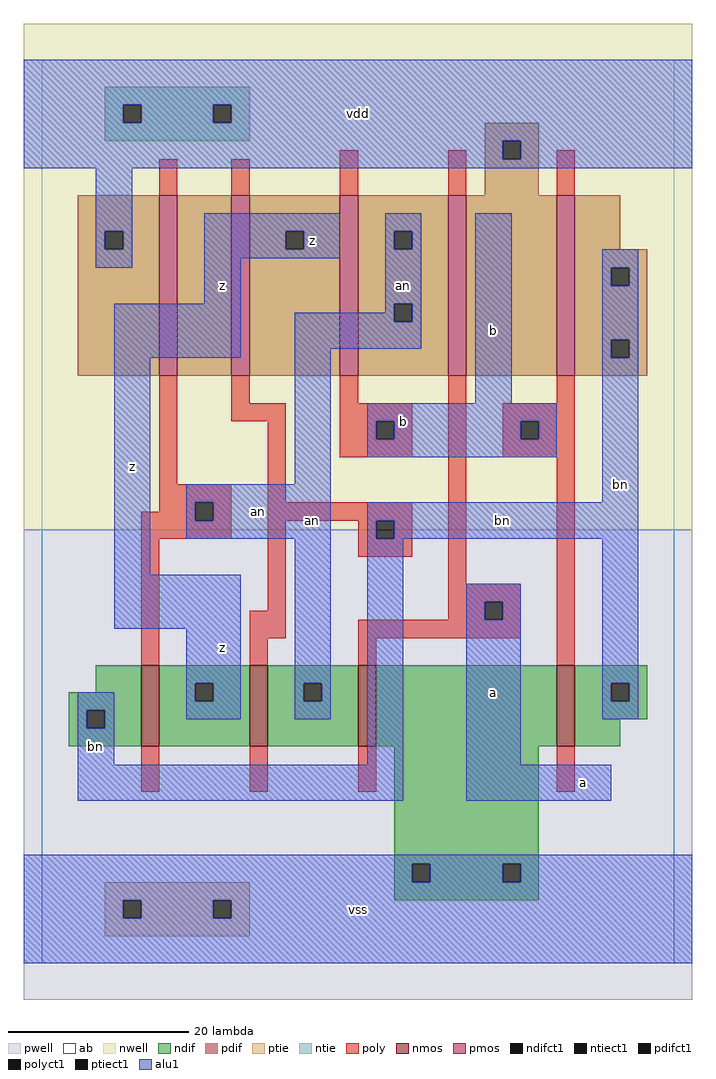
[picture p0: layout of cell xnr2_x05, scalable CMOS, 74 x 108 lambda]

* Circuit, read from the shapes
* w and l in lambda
.subckt xnr2_x05 a an b bn vdd vss z
M1 z an bn vss nfet w=9 l=2
M2 an bn z vss nfet w=9 l=2
M3 vss a an vss nfet w=9 l=2
M4 bn b vss vss nfet w=9 l=2
M5 n1 an vdd vdd pfet w=20 l=2
M6 z bn n1 vdd pfet w=20 l=2
M7 an b z vdd pfet w=20 l=2
M8 vdd a an vdd pfet w=20 l=2
M9 bn b vdd vdd pfet w=20 l=2
.ends

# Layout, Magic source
magic
tech scmos
<< ab >>
rect 0 0 70 100
<< nwell >>
rect -2 48 72 104
<< pwell >>
rect -2 -4 72 48
<< poly >>
rect 13 85 15 89
rect 21 85 23 89
rect 33 85 35 90
rect 45 85 47 90
rect 57 85 59 90
rect 13 53 15 65
rect 21 62 23 65
rect 33 62 35 65
rect 21 60 27 62
rect 13 51 21 53
rect 13 50 17 51
rect 11 49 17 50
rect 19 49 21 51
rect 11 47 21 49
rect 25 51 27 60
rect 33 60 41 62
rect 33 58 37 60
rect 39 58 41 60
rect 33 56 41 58
rect 25 49 41 51
rect 11 33 13 47
rect 25 39 27 49
rect 35 47 37 49
rect 39 47 41 49
rect 35 45 41 47
rect 23 36 27 39
rect 45 42 47 65
rect 57 62 59 65
rect 51 60 59 62
rect 51 58 53 60
rect 55 58 59 60
rect 51 56 59 58
rect 45 40 53 42
rect 45 38 49 40
rect 51 38 53 40
rect 35 36 53 38
rect 23 33 25 36
rect 35 33 37 36
rect 57 33 59 56
rect 11 19 13 24
rect 23 19 25 24
rect 35 19 37 24
rect 57 19 59 24
<< ndif >>
rect 6 30 11 33
rect 3 28 11 30
rect 3 26 5 28
rect 7 26 11 28
rect 3 24 11 26
rect 13 31 23 33
rect 13 29 17 31
rect 19 29 23 31
rect 13 24 23 29
rect 25 31 35 33
rect 25 29 29 31
rect 31 29 35 31
rect 25 24 35 29
rect 37 24 57 33
rect 59 31 67 33
rect 59 29 63 31
rect 65 29 67 31
rect 59 27 67 29
rect 59 24 64 27
rect 39 11 55 24
rect 39 9 41 11
rect 43 9 51 11
rect 53 9 55 11
rect 39 7 55 9
<< pdif >>
rect 49 91 55 93
rect 49 89 51 91
rect 53 89 55 91
rect 49 85 55 89
rect 4 81 13 85
rect 4 79 7 81
rect 9 79 13 81
rect 4 65 13 79
rect 15 65 21 85
rect 23 81 33 85
rect 23 79 27 81
rect 29 79 33 81
rect 23 65 33 79
rect 35 81 45 85
rect 35 79 39 81
rect 41 79 45 81
rect 35 73 45 79
rect 35 71 39 73
rect 41 71 45 73
rect 35 65 45 71
rect 47 65 57 85
rect 59 79 64 85
rect 59 77 67 79
rect 59 75 63 77
rect 65 75 67 77
rect 59 69 67 75
rect 59 67 63 69
rect 65 67 67 69
rect 59 65 67 67
<< alu1 >>
rect -2 95 72 100
rect -2 93 9 95
rect 11 93 19 95
rect 21 93 72 95
rect -2 91 72 93
rect -2 89 51 91
rect 53 89 72 91
rect -2 88 72 89
rect 6 81 10 88
rect 6 79 7 81
rect 9 79 10 81
rect 6 77 10 79
rect 18 81 33 83
rect 18 79 27 81
rect 29 79 33 81
rect 18 78 33 79
rect 38 81 42 83
rect 38 79 39 81
rect 41 79 42 81
rect 18 73 22 78
rect 8 67 22 73
rect 38 73 42 79
rect 38 72 39 73
rect 28 71 39 72
rect 41 71 42 73
rect 28 68 42 71
rect 8 43 12 67
rect 28 53 32 68
rect 48 62 52 83
rect 62 77 66 79
rect 62 75 63 77
rect 65 75 66 77
rect 62 69 66 75
rect 62 67 63 69
rect 65 67 66 69
rect 36 60 57 62
rect 36 58 37 60
rect 39 58 53 60
rect 55 58 57 60
rect 36 56 57 58
rect 16 51 32 53
rect 62 51 66 67
rect 16 49 17 51
rect 19 49 32 51
rect 16 47 32 49
rect 8 37 22 43
rect 16 31 22 37
rect 4 28 8 30
rect 4 26 5 28
rect 7 26 8 28
rect 16 29 17 31
rect 19 29 22 31
rect 16 27 22 29
rect 28 31 32 47
rect 28 29 29 31
rect 31 29 32 31
rect 28 27 32 29
rect 36 49 66 51
rect 36 47 37 49
rect 39 47 66 49
rect 4 22 8 26
rect 36 22 40 47
rect 4 18 40 22
rect 47 40 53 42
rect 47 38 49 40
rect 51 38 53 40
rect 47 22 53 38
rect 62 31 66 47
rect 62 29 63 31
rect 65 29 66 31
rect 62 27 66 29
rect 47 18 63 22
rect -2 11 72 12
rect -2 9 41 11
rect 43 9 51 11
rect 53 9 72 11
rect -2 7 72 9
rect -2 5 9 7
rect 11 5 19 7
rect 21 5 72 7
rect -2 0 72 5
<< ptie >>
rect 7 7 23 9
rect 7 5 9 7
rect 11 5 19 7
rect 21 5 23 7
rect 7 3 23 5
<< ntie >>
rect 7 95 23 97
rect 7 93 9 95
rect 11 93 19 95
rect 21 93 23 95
rect 7 91 23 93
<< nmos >>
rect 11 24 13 33
rect 23 24 25 33
rect 35 24 37 33
rect 57 24 59 33
<< pmos >>
rect 13 65 15 85
rect 21 65 23 85
rect 33 65 35 85
rect 45 65 47 85
rect 57 65 59 85
<< polyct1 >>
rect 17 49 19 51
rect 37 58 39 60
rect 37 47 39 49
rect 53 58 55 60
rect 49 38 51 40
<< ndifct1 >>
rect 5 26 7 28
rect 17 29 19 31
rect 29 29 31 31
rect 63 29 65 31
rect 41 9 43 11
rect 51 9 53 11
<< ntiect1 >>
rect 9 93 11 95
rect 19 93 21 95
<< ptiect1 >>
rect 9 5 11 7
rect 19 5 21 7
<< pdifct1 >>
rect 51 89 53 91
rect 7 79 9 81
rect 27 79 29 81
rect 39 79 41 81
rect 39 71 41 73
rect 63 75 65 77
rect 63 67 65 69
<< labels >>
rlabel alu1 6 24 6 24 6 bn
rlabel alu1 20 35 20 35 6 z
rlabel alu1 10 55 10 55 6 z
rlabel alu1 20 75 20 75 6 z
rlabel alu1 35 6 35 6 6 vss
rlabel alu1 24 50 24 50 6 an
rlabel alu1 30 49 30 49 6 an
rlabel alu1 30 80 30 80 6 z
rlabel alu1 35 94 35 94 6 vdd
rlabel alu1 50 30 50 30 6 a
rlabel alu1 40 60 40 60 6 b
rlabel alu1 50 70 50 70 6 b
rlabel alu1 40 75 40 75 6 an
rlabel alu1 60 20 60 20 6 a
rlabel alu1 51 49 51 49 6 bn
rlabel alu1 64 53 64 53 6 bn
<< end >>
